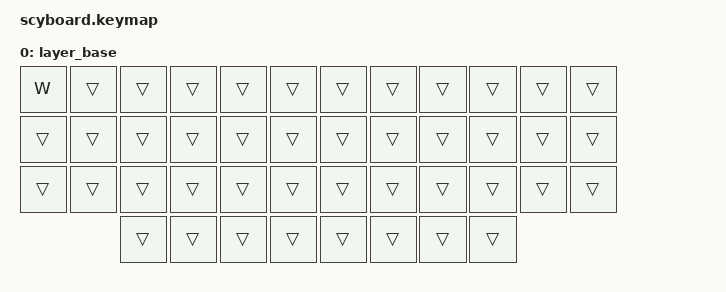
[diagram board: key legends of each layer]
#include <behaviors.dtsi>
#include <dt-bindings/zmk/bt.h>
#include <dt-bindings/zmk/keys.h>

/ {
    keymap {
        compatible = "zmk,keymap";

        layer_base {
            bindings = <
&kp W   &trans  &trans  &trans  &trans  &trans      &trans  &trans  &trans  &trans  &trans  &trans
&trans  &trans  &trans  &trans  &trans  &trans      &trans  &trans  &trans  &trans  &trans  &trans
&trans  &trans  &trans  &trans  &trans  &trans      &trans  &trans  &trans  &trans  &trans  &trans
                &trans  &trans  &trans  &trans      &trans  &trans  &trans  &trans
            >;
        };
    };
};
